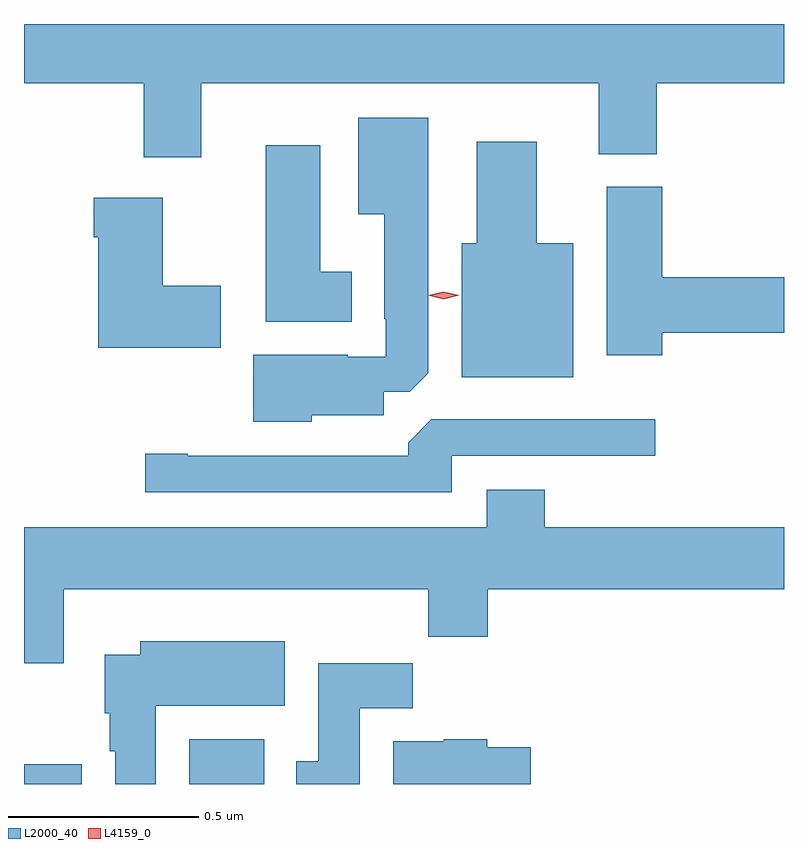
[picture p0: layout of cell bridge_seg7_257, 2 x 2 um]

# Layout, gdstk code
import gdstk
lib = gdstk.Library(unit=1e-6, precision=1e-09)
def R(c, l, rs):  # rectangles x0, y0, x1, y1
    for r in rs: c.add(gdstk.rectangle(r[:2], r[2:], *l))
def P(c, l, *ps):  # polygons
    for p in ps: c.add(gdstk.Polygon(p, *l))
L2000_40 = (2000, 40)
L4159_0 = (4159, 0)

bridge_seg7_257 = lib.new_cell('bridge_seg7_257')
R(bridge_seg7_257, L2000_40, [(174.695,1040.064,174.847,1040.116), (175.13,1040.064,175.327,1040.182)])
P(bridge_seg7_257, L2000_40, [(175.162,1041.908),(176.207,1041.908),(176.207,1041.721),(176.36,1041.721),(176.36,1041.908),(176.695,1041.908),(176.695,1042.064),(174.695,1042.064),(174.695,1041.908),(175.01,1041.908),(175.01,1041.714),(175.162,1041.714)],
  [(175.452,1041.035),(175.642,1041.035),(175.642,1041.096),(175.71,1041.096),(175.759,1041.145),(175.759,1041.817),(175.574,1041.817),(175.574,1041.563),(175.643,1041.563),(175.643,1041.289),(175.647,1041.289),(175.647,1041.189),(175.547,1041.189),(175.547,1041.193),(175.298,1041.193),(175.298,1041.017),(175.452,1041.017)],
  [(176.14,1041.487),(176.044,1041.487),(176.044,1041.754),(175.886,1041.754),(175.886,1041.487),(175.847,1041.487),(175.847,1041.134),(176.14,1041.134)],
  [(175.558,1041.412),(175.474,1041.412),(175.474,1041.745),(175.331,1041.745),(175.331,1041.281),(175.558,1041.281)],
  [(176.375,1041.251),(176.695,1041.251),(176.695,1041.398),(176.375,1041.398),(176.375,1041.636),(176.228,1041.636),(176.228,1041.192),(176.375,1041.192)],
  [(175.213,1041.375),(175.06,1041.375),(175.06,1041.607),(174.878,1041.607),(174.878,1041.503),(174.89,1041.503),(174.89,1041.212),(175.213,1041.212)],
  [(175.821,1040.928),(176.356,1040.928),(176.356,1041.024),(175.767,1041.024),(175.706,1040.962),(175.706,1040.928),(175.126,1040.928),(175.126,1040.933),(175.014,1040.933),(175.014,1040.832),(175.821,1040.832)],
  [(174.799,1040.576),(175.759,1040.576),(175.759,1040.452),(175.916,1040.452),(175.916,1040.576),(176.695,1040.576),(176.695,1040.74),(176.066,1040.74),(176.066,1040.839),(175.913,1040.839),(175.913,1040.74),(174.695,1040.74),(174.695,1040.382),(174.799,1040.382)],
  [(175.042,1040.27),(175.381,1040.27),(175.381,1040.44),(175.001,1040.44),(175.001,1040.404),(174.908,1040.404),(174.908,1040.25),(174.92,1040.25),(174.92,1040.15),(174.935,1040.15),(174.935,1040.064),(175.042,1040.064)],
  [(175.579,1040.264),(175.718,1040.264),(175.718,1040.382),(175.469,1040.382),(175.469,1040.124),(175.412,1040.124),(175.412,1040.064),(175.579,1040.064)],
  [(176.029,1040.161),(175.914,1040.161),(175.914,1040.182),(175.8,1040.182),(175.8,1040.176),(175.667,1040.176),(175.667,1040.064),(176.029,1040.064)])
P(bridge_seg7_257, L4159_0, [(175.799,1041.34),(175.758,1041.35),(175.758,1041.35),(175.758,1041.35),(175.799,1041.36),(175.84,1041.35),(175.84,1041.35),(175.84,1041.35)])

lib.write_gds('bridge_seg7_257.gds')
